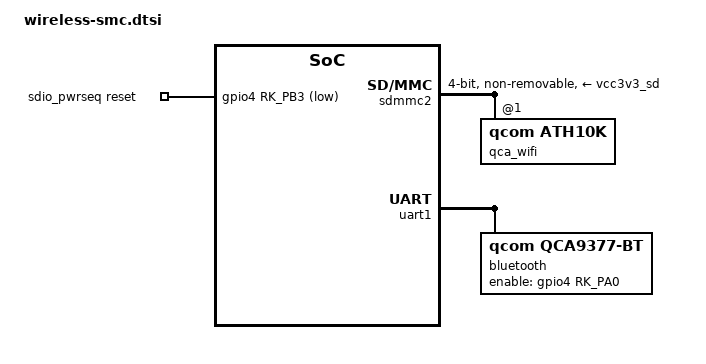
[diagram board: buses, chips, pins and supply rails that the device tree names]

/ {
	sdio_pwrseq: sdio-pwrseq {
		compatible = "mmc-pwrseq-simple";
		clocks = <&rtc_clock>;
		clock-names = "ext_clock";
		pinctrl-names = "default";
		pinctrl-0 = <&wlan_en_pin>;

		//post-power-on-delay-ms = <200>;   //CHECK_IT
		// WLAN_EN
		reset-gpios = <&gpio4 RK_PB3 GPIO_ACTIVE_LOW>;
	};
};

&sdmmc2 {
    // WiFi & BT combo module Fn-Link FG6233ASRB-01 / Fn-Link 8223A-SR
	mmc-pwrseq = <&sdio_pwrseq>;
	pinctrl-names = "default";
	pinctrl-0 = <&sdmmc2m0_bus4 &sdmmc2m0_clk &sdmmc2m0_cmd>;
	vmmc-supply = <&vcc3v3_sd>;
	vqmmc-supply = <&vcc3v3_sd>;

	bus-width = <4>;
	max-frequency = <50000000>;
	drv-type = <2>;
	cap-sd-highspeed;
	sd-uhs-sdr50;
	sd-uhs-sdr104;
	keep-power-in-suspend;
	enable-sdio-wakeup;
	cap-sdio-irq;
	non-removable;
	no-mmc;
	no-sd;

	#address-cells = <1>;
	#size-cells = <0>;
	rockchip,default-sample-phase = <90>;
	status = "okay";

	qca_wifi: qca-wifi@1 {
		reg = <1>;
		compatible = "qcom,ath10k";
	};
};

&uart1 {
	pinctrl-names = "default";
	pinctrl-0 = <&uart1m1_xfer &uart1m1_ctsn &uart1m1_rtsn>;
	uart-has-rtscts;
	status = "okay";

	bluetooth {
//		TODO
		// Fn-Link FG6233ASRB-01
//		compatible = "realtek,rtl8723bs-bt";
		// Fn-Link 8223A-SR
		compatible = "qcom,qca9377-bt";
		// BT_WAKE_HOST
//		device-wake-gpios = <&gpio3 RK_PA1 GPIO_ACTIVE_HIGH>;
		// WL_HOST_WAKE
//		host-wake-gpios = <&gpio3 RK_PD4 GPIO_ACTIVE_HIGH>;
		// BT_EN
		enable-gpios = <&gpio4 RK_PA0 GPIO_ACTIVE_HIGH>;
		max-speed = <2000000>;
		pinctrl-names = "default";
		pinctrl-0 = <&bt_en_pin>;
	};
};

&pinctrl {

	wireless {

//		WLAN_EN

		wlan_en_pin: wlan-en-pin {
			rockchip,pins = <4 RK_PB3 RK_FUNC_GPIO &pcfg_pull_none>;
		};

//		BT_EN

		bt_en_pin: bt-en-pin {
			rockchip,pins = <4 RK_PA0 RK_FUNC_GPIO &pcfg_pull_none>;
//			rockchip,pins = <4 RK_PA0 RK_FUNC_GPIO &pcfg_pull_up_drv_level_2>;
		};
	};
};

